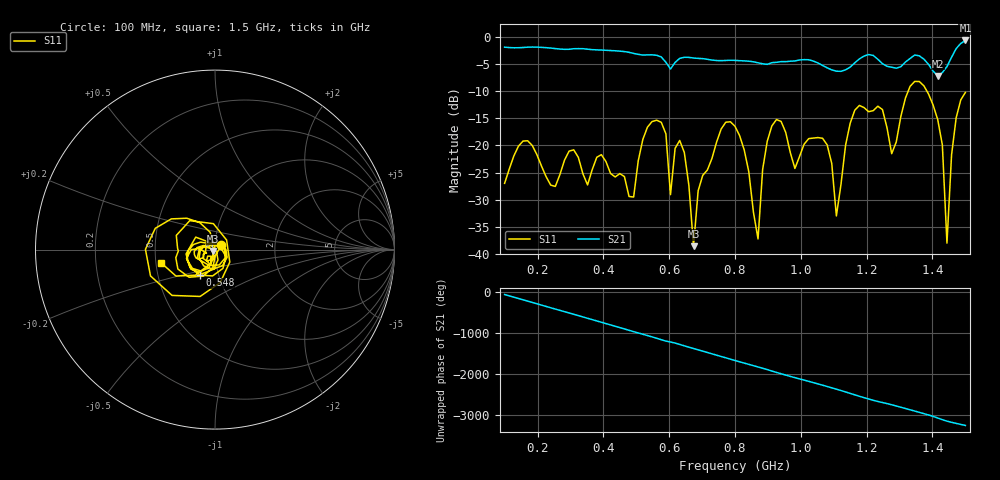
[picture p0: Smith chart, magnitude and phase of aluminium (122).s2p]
! NanoVNA-App
! Date: 2025-09-26 09:59:00
! Start: 100MHz Stop: 1,5GHz Points: 101
! S-Parameter data: F S11 S21 S12 S22
# Hz S RI R 50
!  Frequency  S11_Real  S11_Imag  S21_Real  S21_Imag  S12_Real  S12_Imag  S22_Real  S22_Imag
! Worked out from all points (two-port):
!   101 points, 100 MHz to 1.5 GHz, reference 50 ohm
!   highest |S21| = -0.67 dB at 1.5 GHz (marker M1); lowest = -7.2 dB at 1.416 GHz (marker M2)
!   |S21| within 3 dB of the highest: start of sweep to 574.2 MHz; 1.189 GHz to 1.225 GHz (36.14 MHz wide, 2.99 % of centre) (the widest 2 of 4)
!   lowest |S11| = -38.5 dB at 674 MHz (marker M3), VSWR 1.02, Z = 49.1 - j0.708 ohm
!   |S11| at or under -10 dB: start of sweep to 1.326 GHz; 1.383 GHz to end of sweep
!   S12 and S22 are empty: the file has one direction only
!   S11 on the Smith chart (normalised r, x): 100 MHz: 1.07, +0.06; 548 MHz: 0.81, -0.24; 1.5 GHz: 0.54, -0.09
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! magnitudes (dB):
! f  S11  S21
! 100 MHz  -27.0  -1.9
! 156 MHz  -19.2  -2.0
! 338 MHz  -25.2  -2.2
! 492 MHz  -29.5  -3.1
! 548 MHz  -15.6  -3.3
! 576 MHz  -15.7  -3.7
! 604 MHz  -29.1  -5.9
! 646 MHz  -21.3  -3.8
! 674 MHz  -38.5  -3.9
! 702 MHz  -25.5  -4.0
! 800 MHz  -16.5  -4.3
! 870 MHz  -37.2  -4.8
! 912 MHz  -16.4  -4.8
! 1.038 GHz  -18.6  -4.5
! 1.108 GHz  -33.0  -6.3
! 1.164 GHz  -13.5  -4.8
! 1.276 GHz  -21.5  -5.6
! 1.346 GHz  -8.2  -3.4
! 1.416 GHz  -15.3  -7.2
! 1.444 GHz  -38.0  -5.5
! 1.458 GHz  -21.7  -3.8
! 1.5 GHz  -10.2  -0.7
